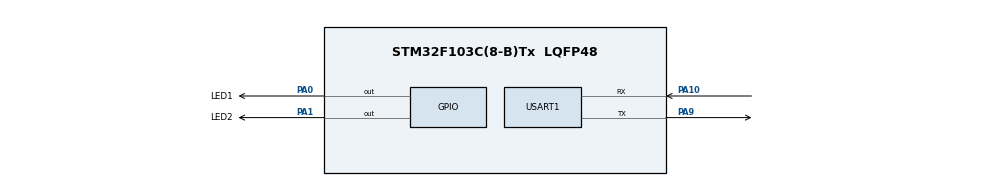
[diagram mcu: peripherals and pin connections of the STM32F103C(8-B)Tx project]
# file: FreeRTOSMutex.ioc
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Dma.Request0=USART1_RX
Dma.Request1=USART1_TX
Dma.USART1_RX.0.Direction=DMA_PERIPH_TO_MEMORY
Dma.USART1_RX.0.Instance=DMA1_Channel5
Dma.USART1_RX.0.MemDataAlignment=DMA_MDATAALIGN_BYTE
Dma.USART1_RX.0.MemInc=DMA_MINC_ENABLE
Dma.USART1_RX.0.Mode=DMA_NORMAL
Dma.USART1_RX.0.PeriphDataAlignment=DMA_PDATAALIGN_BYTE
Dma.USART1_RX.0.PeriphInc=DMA_PINC_DISABLE
Dma.USART1_RX.0.Priority=DMA_PRIORITY_LOW
Dma.USART1_TX.1.Direction=DMA_MEMORY_TO_PERIPH
Dma.USART1_TX.1.Instance=DMA1_Channel4
Dma.USART1_TX.1.MemDataAlignment=DMA_MDATAALIGN_BYTE
Dma.USART1_TX.1.MemInc=DMA_MINC_ENABLE
Dma.USART1_TX.1.Mode=DMA_NORMAL
Dma.USART1_TX.1.PeriphDataAlignment=DMA_PDATAALIGN_BYTE
Dma.USART1_TX.1.PeriphInc=DMA_PINC_DISABLE
Dma.USART1_TX.1.Priority=DMA_PRIORITY_LOW
FREERTOS.Mutexes01=myMutex01,Dynamic,NULL,Available
FREERTOS.Tasks01=defaultTask,0,128,StartDefaultTask,Default,NULL,Dynamic,NULL,NULL;LED1,0,128,myTaskLED1,Default,NULL,Dynamic,NULL,NULL;LED2,0,128,myTaskLED2,Default,NULL,Dynamic,NULL,NULL
Mcu.Family=STM32F1
Mcu.Name=STM32F103C(8-B)Tx
Mcu.Package=LQFP48
NVIC.DMA1_Channel4_IRQn=true\:5\:0\:false\:false\:true\:true\:false\:true\:true
NVIC.DMA1_Channel5_IRQn=true\:5\:0\:false\:false\:true\:true\:false\:true\:true
NVIC.PriorityGroup=NVIC_PRIORITYGROUP_4
NVIC.TIM4_IRQn=true\:15\:0\:false\:false\:true\:false\:false\:true\:true
NVIC.TimeBase=TIM4_IRQn
NVIC.TimeBaseIP=TIM4
NVIC.USART1_IRQn=true\:5\:0\:false\:false\:true\:true\:true\:true\:true
PA0-WKUP.GPIO_Label=LED1
PA0-WKUP.GPIO_ModeDefaultOutputPP=GPIO_MODE_OUTPUT_PP
PA0-WKUP.GPIO_PuPd=GPIO_PULLUP
PA0-WKUP.Signal=GPIO_Output
PA1.GPIO_Label=LED2
PA1.GPIO_ModeDefaultOutputPP=GPIO_MODE_OUTPUT_PP
PA1.GPIO_PuPd=GPIO_PULLUP
PA1.Signal=GPIO_Output
PA10.Mode=Asynchronous
PA10.Signal=USART1_RX
PA13.Mode=Serial_Wire
PA13.Signal=SYS_JTMS-SWDIO
PA14.Mode=Serial_Wire
PA14.Signal=SYS_JTCK-SWCLK
PA9.Mode=Asynchronous
PA9.Signal=USART1_TX
ProjectManager.HeapSize=0x200
ProjectManager.StackSize=0x400
ProjectManager.TargetToolchain=CMake
RCC.APB1Freq_Value=8000000
RCC.APB2Freq_Value=8000000
USART1.VirtualMode=VM_ASYNC
VP_FREERTOS_VS_CMSIS_V1.Mode=CMSIS_V1
VP_SYS_VS_tim4.Mode=TIM4
board=custom

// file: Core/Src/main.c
/* USER CODE BEGIN Header */
/**
  ******************************************************************************
  * @file           : main.c
  * @brief          : Main program body
  ******************************************************************************
  * @attention
  *
  * Copyright (c) 2026 STMicroelectronics.
  * All rights reserved.
  *
  * This software is licensed under terms that can be found in the LICENSE file
  * in the root directory of this software component.
  * If no LICENSE file comes with this software, it is provided AS-IS.
  *
  ******************************************************************************
  */
/* USER CODE END Header */
#include "main.h"
#include "cmsis_os.h"
#include "dma.h"
#include "usart.h"
#include "gpio.h"

/* USER CODE BEGIN PV */
uint8_t ch;
/* USER CODE END PV */

void SystemClock_Config(void);
void MX_FREERTOS_Init(void);

int main(void)
{

  /* MCU Configuration--------------------------------------------------------*/

  /* Reset of all peripherals, Initializes the Flash interface and the Systick. */
  HAL_Init();

  /* Configure the system clock */
  SystemClock_Config();

  /* Initialize all configured peripherals */
  MX_GPIO_Init();
  MX_DMA_Init();
  MX_USART1_UART_Init();

  /* Call init function for freertos objects (in cmsis_os2.c) */
  MX_FREERTOS_Init();

  /* Start scheduler */
  osKernelStart();

  /* We should never get here as control is now taken by the scheduler */

  /* Infinite loop */
  while (1)
  {

  }
}

void SystemClock_Config(void)
{
  RCC_OscInitTypeDef RCC_OscInitStruct = {0};
  RCC_ClkInitTypeDef RCC_ClkInitStruct = {0};

  /** Initializes the RCC Oscillators according to the specified parameters
  * in the RCC_OscInitTypeDef structure.
  */
  RCC_OscInitStruct.OscillatorType = RCC_OSCILLATORTYPE_HSI;
  RCC_OscInitStruct.HSIState = RCC_HSI_ON;
  RCC_OscInitStruct.HSICalibrationValue = RCC_HSICALIBRATION_DEFAULT;
  RCC_OscInitStruct.PLL.PLLState = RCC_PLL_NONE;
  if (HAL_RCC_OscConfig(&RCC_OscInitStruct) != HAL_OK)
  {
    Error_Handler();
  }

  /** Initializes the CPU, AHB and APB buses clocks
  */
  RCC_ClkInitStruct.ClockType = RCC_CLOCKTYPE_HCLK|RCC_CLOCKTYPE_SYSCLK
                              |RCC_CLOCKTYPE_PCLK1|RCC_CLOCKTYPE_PCLK2;
  RCC_ClkInitStruct.SYSCLKSource = RCC_SYSCLKSOURCE_HSI;
  RCC_ClkInitStruct.AHBCLKDivider = RCC_SYSCLK_DIV1;
  RCC_ClkInitStruct.APB1CLKDivider = RCC_HCLK_DIV1;
  RCC_ClkInitStruct.APB2CLKDivider = RCC_HCLK_DIV1;

  if (HAL_RCC_ClockConfig(&RCC_ClkInitStruct, FLASH_LATENCY_0) != HAL_OK)
  {
    Error_Handler();
  }
}

void HAL_TIM_PeriodElapsedCallback(TIM_HandleTypeDef *htim)
{
  if (htim->Instance == TIM4)
  {
    HAL_IncTick();
  }
}

void Error_Handler(void)
{
  __disable_irq();
  while (1)
  {
  }
}

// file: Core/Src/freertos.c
/* USER CODE BEGIN Header */
/**
  ******************************************************************************
  * File Name          : freertos.c
  * Description        : Code for freertos applications
  ******************************************************************************
  * @attention
  *
  * Copyright (c) 2026 STMicroelectronics.
  * All rights reserved.
  *
  * This software is licensed under terms that can be found in the LICENSE file
  * in the root directory of this software component.
  * If no LICENSE file comes with this software, it is provided AS-IS.
  *
  ******************************************************************************
  */
/* USER CODE END Header */

#include "FreeRTOS.h"
#include "task.h"
#include "main.h"
#include "cmsis_os.h"

/* USER CODE BEGIN Includes */
#include "LED.h"
#include "UART_DMA.h"
/* USER CODE END Includes */

osThreadId defaultTaskHandle;
osThreadId LED1Handle;
osThreadId LED2Handle;
osThreadId EchoTaskHandle;
osMutexId myMutex01Handle;

void StartDefaultTask(void const *argument);

void myTaskLED1(void const *argument);

void myTaskLED2(void const *argument);

void myTaskEcho(void const *argument);

void MX_FREERTOS_Init(void); /* (MISRA C 2004 rule 8.1) */

/* GetIdleTaskMemory prototype (linked to static allocation support) */
void vApplicationGetIdleTaskMemory(StaticTask_t **ppxIdleTaskTCBBuffer, StackType_t **ppxIdleTaskStackBuffer,
                                   uint32_t *pulIdleTaskStackSize);

/* USER CODE BEGIN GET_IDLE_TASK_MEMORY */
static StaticTask_t xIdleTaskTCBBuffer;
static StackType_t xIdleStack[configMINIMAL_STACK_SIZE];

void vApplicationGetIdleTaskMemory(StaticTask_t **ppxIdleTaskTCBBuffer, StackType_t **ppxIdleTaskStackBuffer,
                                   uint32_t *pulIdleTaskStackSize) {
  *ppxIdleTaskTCBBuffer = &xIdleTaskTCBBuffer;
  *ppxIdleTaskStackBuffer = &xIdleStack[0];
  *pulIdleTaskStackSize = configMINIMAL_STACK_SIZE;
  /* place for user code */
}

/* USER CODE END GET_IDLE_TASK_MEMORY */

void MX_FREERTOS_Init(void) {
  /* Create the mutex(es) */
  /* definition and creation of myMutex01 */
  osMutexDef(myMutex01);
  myMutex01Handle = osMutexCreate(osMutex(myMutex01));

  /* Create the thread(s) */
  /* definition and creation of defaultTask */
  osThreadDef(defaultTask, StartDefaultTask, osPriorityNormal, 0, 128);
  defaultTaskHandle = osThreadCreate(osThread(defaultTask), NULL);

  /* definition and creation of LED1 */
  osThreadDef(LED1, myTaskLED1, osPriorityNormal, 0, 128);
  LED1Handle = osThreadCreate(osThread(LED1), NULL);

  /* definition and creation of LED2 */
  osThreadDef(LED2, myTaskLED2, osPriorityNormal, 0, 128);
  LED2Handle = osThreadCreate(osThread(LED2), NULL);

  /* definition and creation of Echo */
  osThreadDef(Echo, myTaskEcho, osPriorityAboveNormal, 0, 256);
  EchoTaskHandle = osThreadCreate(osThread(Echo), NULL);

}

void StartDefaultTask(void const *argument) {
  for (;;) {
    osDelay(1);
  }
}

void myTaskLED1(void const *argument) {
  /* USER CODE BEGIN myTaskLED1 */
  uint8_t blink_count = 0;

  for (;;) {
    LED_Control(LED1_GPIO_Port, GPIO_PIN_0, LED_ON);
    osDelay(600);
    LED_Control(LED1_GPIO_Port, GPIO_PIN_0, LED_OFF);
    osDelay(600);
    LED_Control(LED1_GPIO_Port, GPIO_PIN_0, LED_TOGGLE);
    osDelay(600);

    blink_count++;

    /* 每闪烁5次发送一条串口消息，两个任务同时触发时互斥锁会让其中一个等待 */
    if (blink_count >= 5) {
      blink_count = 0;
      UART_SendWithMutex("LED1: blinked 5 times\r\n");
    }
  }
  /* USER CODE END myTaskLED1 */
}

void myTaskLED2(void const *argument) {
  /* USER CODE BEGIN myTaskLED2 */
  uint8_t blink_count = 0;

  for (;;) {
    LED_Control(LED2_GPIO_Port, GPIO_PIN_1, LED_ON);
    osDelay(200);
    LED_Control(LED2_GPIO_Port, GPIO_PIN_1, LED_OFF);
    osDelay(200);
    LED_Control(LED2_GPIO_Port, GPIO_PIN_1, LED_TOGGLE);
    osDelay(200);

    blink_count++;

    /* LED2 周期更短，会更频繁触发，和 LED1 抢互斥锁的概率更高 */
    if (blink_count >= 5) {
      blink_count = 0;
      UART_SendWithMutex("LED2: blinked 5 times\r\n");
    }
  }
  /* USER CODE END myTaskLED2 */
}

/* USER CODE BEGIN Application */

/**
 * @brief Echo任务：等待接收通知，收到后原样回发数据
 *
 * 启动时先开启DMA接收，然后阻塞等待Task Notification。
 * 中断回调触发后，用互斥锁保护串口，把收到的数据发回去，
 * 再重新开启下一次接收，形成循环。
 */
void myTaskEcho(void const *argument) {
  /* 开启第一次接收 */
  UART_StartReceive();

  for (;;) {
    /* 无限等待通知，通知值即为接收到的字节数 */
    uint32_t rx_len = ulTaskNotifyTake(pdTRUE, portMAX_DELAY);

    if (rx_len > 0 && rx_len <= UART_RX_BUF_SIZE) {
      /* 用互斥锁保护发送，和LED任务共享同一把锁 */
      if (osMutexWait(myMutex01Handle, 1000) == osOK) {
        HAL_UART_Transmit_DMA(&huart1, uart_rx_buf, (uint16_t) rx_len);

        while (HAL_UART_GetState(&huart1) == HAL_UART_STATE_BUSY_TX ||
               HAL_UART_GetState(&huart1) == HAL_UART_STATE_BUSY_TX_RX) {
          osDelay(1);
        }

        osMutexRelease(myMutex01Handle);
      }
    }

    /* 重新开启下一次接收 */
    UART_StartReceive();
  }
}

/* USER CODE END Application */
